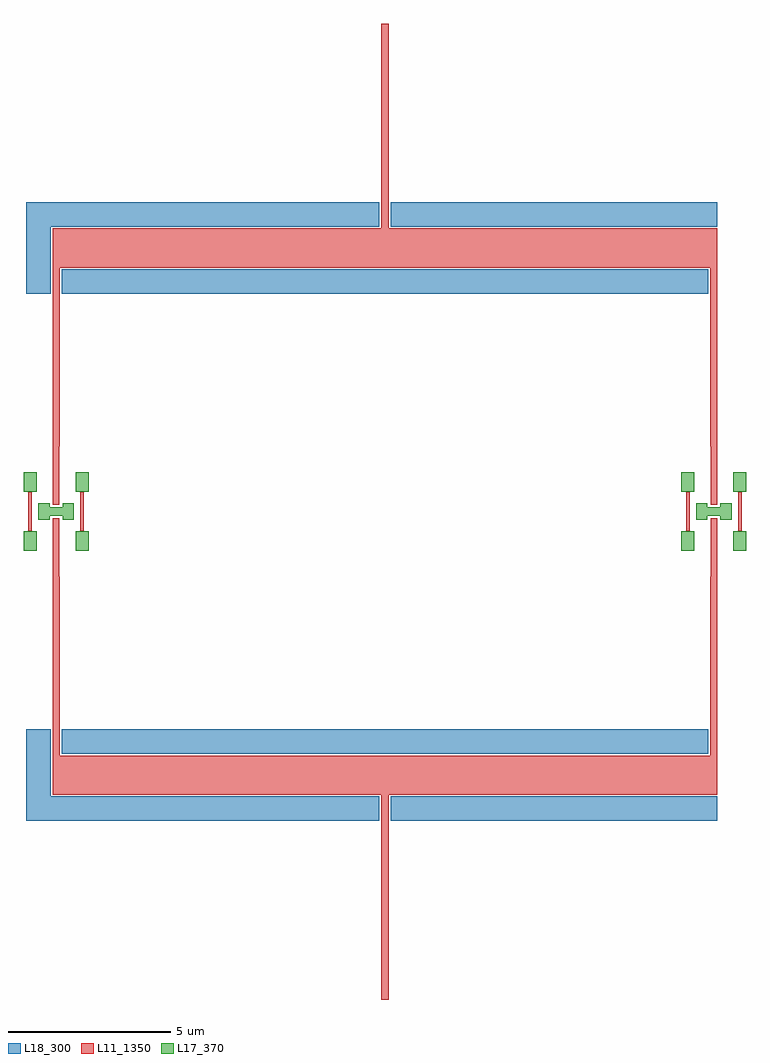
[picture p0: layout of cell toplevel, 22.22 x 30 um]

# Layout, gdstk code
import gdstk
lib = gdstk.Library(unit=1e-6, precision=1e-09)
def R(c, l, rs):  # rectangles x0, y0, x1, y1
    for r in rs: c.add(gdstk.rectangle(r[:2], r[2:], *l))
def P(c, l, *ps):  # polygons
    for p in ps: c.add(gdstk.Polygon(p, *l))
L11_1350 = (11, 1350)
L17_370 = (17, 370)
L18_300 = (18, 300)

rectangle = lib.new_cell('rectangle')
R(rectangle, L11_1350, [(0,0,0.2,1.8)])

jj_top = lib.new_cell('JJ Top')
jj_top.add(gdstk.Reference(rectangle, (-0.1,0.2)))

rectangle002 = lib.new_cell('rectangle002')
R(rectangle002, L11_1350, [(0,0,0.2,1.8)])

jj_bot = lib.new_cell('JJ Bot')
jj_bot.add(gdstk.Reference(rectangle002, (-0.1,-2)))

rectangle003 = lib.new_cell('rectangle003')
R(rectangle003, L11_1350, [(0,0,0.22,5.5)])

top_arm = lib.new_cell('Top Arm')
top_arm.add(gdstk.Reference(rectangle003, (-0.11,2)))

rectangle004 = lib.new_cell('rectangle004')
R(rectangle004, L11_1350, [(0,0,0.22,5.5)])

bot_arm = lib.new_cell('Bot Arm')
bot_arm.add(gdstk.Reference(rectangle004, (-0.11,-7.5)))

junction = lib.new_cell('Junction')
junction.add(gdstk.Reference(jj_top, (0,0)))
junction.add(gdstk.Reference(jj_bot, (0,0)))
junction.add(gdstk.Reference(top_arm, (0,0)))
junction.add(gdstk.Reference(bot_arm, (0,0)))

rectangle006 = lib.new_cell('rectangle006')
R(rectangle006, L17_370, [(-0.15,1.2,0.25,1.8)])

rectangle007 = lib.new_cell('rectangle007')
R(rectangle007, L17_370, [(-0.15,-0.6,0.25,0)])

rectangle005 = lib.new_cell('rectangle005')
R(rectangle005, L11_1350, [(0,0,0.1,1.2)])
rectangle005.add(gdstk.Reference(rectangle006, (0,0)))
rectangle005.add(gdstk.Reference(rectangle007, (0,0)))

boolean = lib.new_cell('boolean')
P(boolean, L17_370, [(-0.2,-0.125),(0.2,-0.125),(0.2,-0.25),(0.55,-0.25),(0.55,0.25),(0.2,0.25),(0.2,0.125),(-0.2,0.125),(-0.2,0.25),(-0.55,0.25),(-0.55,-0.25),(-0.2,-0.25)])

h_undercut_with_boxes = lib.new_cell('H undercut with boxes')
h_undercut_with_boxes.add(gdstk.Reference(rectangle005, (-0.85,-0.6)))
h_undercut_with_boxes.add(gdstk.Reference(rectangle005, (0.75,-0.6)))
h_undercut_with_boxes.add(gdstk.Reference(boolean, (0,0)))

josephson_junction = lib.new_cell('Josephson Junction')
josephson_junction.add(gdstk.Reference(junction, (0,0)))
josephson_junction.add(gdstk.Reference(h_undercut_with_boxes, (0,0)))

rectangle010 = lib.new_cell('rectangle010')
R(rectangle010, L11_1350, [(0,0,0.2,1.8)])

jj_top009 = lib.new_cell('JJ Top009')
jj_top009.add(gdstk.Reference(rectangle010, (-0.1,0.2)))

rectangle012 = lib.new_cell('rectangle012')
R(rectangle012, L11_1350, [(0,0,0.2,1.8)])

jj_bot011 = lib.new_cell('JJ Bot011')
jj_bot011.add(gdstk.Reference(rectangle012, (-0.1,-2)))

rectangle014 = lib.new_cell('rectangle014')
R(rectangle014, L11_1350, [(0,0,0.22,5.5)])

top_arm013 = lib.new_cell('Top Arm013')
top_arm013.add(gdstk.Reference(rectangle014, (-0.11,2)))

rectangle016 = lib.new_cell('rectangle016')
R(rectangle016, L11_1350, [(0,0,0.22,5.5)])

bot_arm015 = lib.new_cell('Bot Arm015')
bot_arm015.add(gdstk.Reference(rectangle016, (-0.11,-7.5)))

junction017 = lib.new_cell('Junction017')
junction017.add(gdstk.Reference(jj_top009, (0,0)))
junction017.add(gdstk.Reference(jj_bot011, (0,0)))
junction017.add(gdstk.Reference(top_arm013, (0,0)))
junction017.add(gdstk.Reference(bot_arm015, (0,0)))

rectangle020 = lib.new_cell('rectangle020')
R(rectangle020, L17_370, [(-0.15,1.2,0.25,1.8)])

rectangle021 = lib.new_cell('rectangle021')
R(rectangle021, L17_370, [(-0.15,-0.6,0.25,0)])

rectangle019 = lib.new_cell('rectangle019')
R(rectangle019, L11_1350, [(0,0,0.1,1.2)])
rectangle019.add(gdstk.Reference(rectangle020, (0,0)))
rectangle019.add(gdstk.Reference(rectangle021, (0,0)))

boolean022 = lib.new_cell('boolean022')
P(boolean022, L17_370, [(-0.2,-0.125),(0.2,-0.125),(0.2,-0.25),(0.55,-0.25),(0.55,0.25),(0.2,0.25),(0.2,0.125),(-0.2,0.125),(-0.2,0.25),(-0.55,0.25),(-0.55,-0.25),(-0.2,-0.25)])

h_undercut_with_boxes018 = lib.new_cell('H undercut with boxes018')
h_undercut_with_boxes018.add(gdstk.Reference(rectangle019, (-0.85,-0.6)))
h_undercut_with_boxes018.add(gdstk.Reference(rectangle019, (0.75,-0.6)))
h_undercut_with_boxes018.add(gdstk.Reference(boolean022, (0,0)))

josephson_junction008 = lib.new_cell('Josephson Junction008')
josephson_junction008.add(gdstk.Reference(junction017, (0,0)))
josephson_junction008.add(gdstk.Reference(h_undercut_with_boxes018, (0,0)))

rectangle023 = lib.new_cell('rectangle023')
R(rectangle023, L11_1350, [(0,0,20.44,1.2)])

island = lib.new_cell('Island')
island.add(gdstk.Reference(rectangle023, (0,0)))

top_island = lib.new_cell('Top island')
top_island.add(gdstk.Reference(island, (-0.11,7.5)))

rectangle025 = lib.new_cell('rectangle025')
R(rectangle025, L11_1350, [(0,0,20.44,1.2)])

island024 = lib.new_cell('Island024')
island024.add(gdstk.Reference(rectangle025, (0,0)))

bot_island = lib.new_cell('Bot island')
bot_island.add(gdstk.Reference(island024, (-0.11,-8.7)))

rectangle026 = lib.new_cell('rectangle026')
R(rectangle026, L11_1350, [(0,-6.3,0.22,0)])

connector = lib.new_cell('Connector')
connector.add(gdstk.Reference(rectangle026, (0,0)))

top_connector = lib.new_cell('Top connector')
top_connector.add(gdstk.Reference(connector, (10,15)))

rectangle028 = lib.new_cell('rectangle028')
R(rectangle028, L11_1350, [(0,-6.3,0.22,0)])

connector027 = lib.new_cell('Connector027')
connector027.add(gdstk.Reference(rectangle028, (0,0)))

bot_connector = lib.new_cell('Bot connector')
bot_connector.add(gdstk.Reference(connector027, (10,-15), x_reflection=True))

boolean030 = lib.new_cell('boolean030')
R(boolean030, L18_300, [(10.28,-9.5,20.33,-8.76), (0.17,-7.44,20.05,-6.7), (0.17,6.7,20.05,7.44), (10.28,8.76,20.33,9.5)])
P(boolean030, L18_300, [(-0.17,8.76),(9.94,8.76),(9.94,9.5),(-0.91,9.5),(-0.91,6.7),(-0.17,6.7)],
  [(9.94,-8.76),(-0.17,-8.76),(-0.17,-6.7),(-0.91,-6.7),(-0.91,-9.5),(9.94,-9.5)])

liftoff_undercut029 = lib.new_cell('Liftoff undercut029')
liftoff_undercut029.add(gdstk.Reference(boolean030, (0,0)))

liftoff_undercut = lib.new_cell('Liftoff undercut')
liftoff_undercut.add(gdstk.Reference(liftoff_undercut029, (0,0)))

toplevel = lib.new_cell('toplevel')
toplevel.add(gdstk.Reference(josephson_junction, (-10.11,0)))
toplevel.add(gdstk.Reference(josephson_junction008, (10.11,0)))
toplevel.add(gdstk.Reference(top_island, (-10.11,0)))
toplevel.add(gdstk.Reference(bot_island, (-10.11,0)))
toplevel.add(gdstk.Reference(top_connector, (-10.11,0)))
toplevel.add(gdstk.Reference(bot_connector, (-10.11,0)))
toplevel.add(gdstk.Reference(liftoff_undercut, (-10.11,0)))

lib.write_gds('toplevel.gds')
